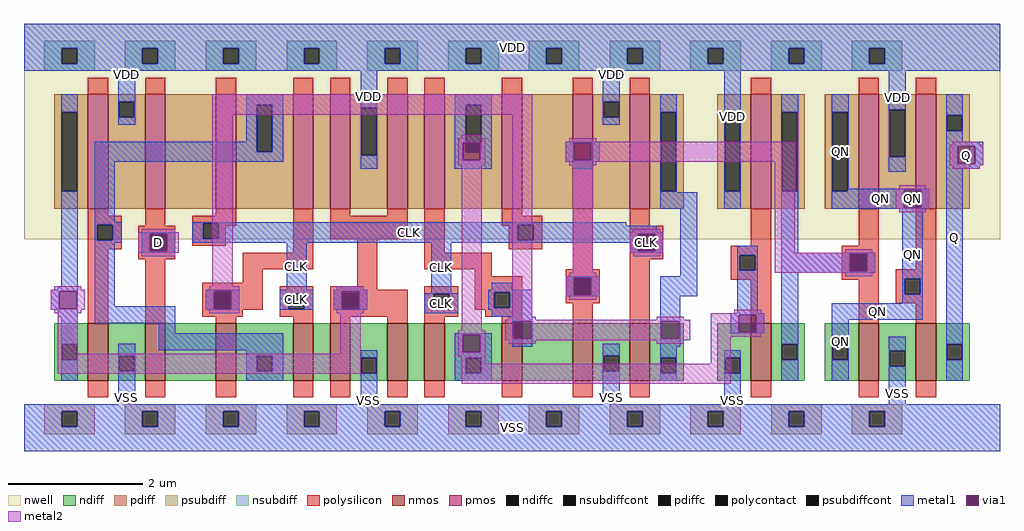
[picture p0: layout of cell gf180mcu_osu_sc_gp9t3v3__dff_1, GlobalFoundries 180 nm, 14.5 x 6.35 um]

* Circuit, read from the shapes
.subckt gf180mcu_osu_sc_gp9t3v3__dff_1 D Q QN CLK VDD VSS
XM1 VSS n1 n2 VSS nfet_03v3 w=0.85u l=0.3u
XM2 n3 D VSS VSS nfet_03v3 w=0.85u l=0.3u
XM3 n1 n4 n3 VSS nfet_03v3 w=0.85u l=0.3u
XM4 n5 CLK n1 VSS nfet_03v3 w=0.85u l=0.3u
XM5 VSS n2 n5 VSS nfet_03v3 w=0.85u l=0.3u
XM6 n6 n2 VSS VSS nfet_03v3 w=0.85u l=0.3u
XM7 n7 CLK n6 VSS nfet_03v3 w=0.85u l=0.3u
XM8 n8 n4 n7 VSS nfet_03v3 w=0.85u l=0.3u
XM9 VSS n9 n8 VSS nfet_03v3 w=0.85u l=0.3u
XM10 n4 CLK VSS VSS nfet_03v3 w=0.85u l=0.3u
XM11 n9 n7 VSS VSS nfet_03v3 w=0.85u l=0.3u
XM12 VSS n9 QN VSS nfet_03v3 w=0.85u l=0.3u
XM13 Q QN VSS VSS nfet_03v3 w=0.85u l=0.3u
XM14 VDD n1 n2 VDD pfet_03v3 w=1.7u l=0.3u
XM15 n10 D VDD VDD pfet_03v3 w=1.7u l=0.3u
XM16 n1 CLK n10 VDD pfet_03v3 w=1.7u l=0.3u
XM17 n11 n4 n1 VDD pfet_03v3 w=1.7u l=0.3u
XM18 VDD n2 n11 VDD pfet_03v3 w=1.7u l=0.3u
XM19 n12 n2 VDD VDD pfet_03v3 w=1.7u l=0.3u
XM20 n7 n4 n12 VDD pfet_03v3 w=1.7u l=0.3u
XM21 n13 CLK n7 VDD pfet_03v3 w=1.7u l=0.3u
XM22 VDD n9 n13 VDD pfet_03v3 w=1.7u l=0.3u
XM23 n4 CLK VDD VDD pfet_03v3 w=1.7u l=0.3u
XM24 n9 n7 VDD VDD pfet_03v3 w=1.7u l=0.3u
XM25 VDD n9 QN VDD pfet_03v3 w=1.7u l=0.3u
XM26 Q QN VDD VDD pfet_03v3 w=1.7u l=0.3u
.ends

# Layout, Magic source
magic
tech gf180mcuA
magscale 1 10
<< nwell >>
rect 0 630 2900 1270
<< nmos >>
rect 190 210 250 380
rect 360 210 420 380
rect 570 210 630 380
rect 800 210 860 380
rect 910 210 970 380
rect 1080 210 1140 380
rect 1190 210 1250 380
rect 1420 210 1480 380
rect 1630 210 1690 380
rect 1800 210 1860 380
rect 2160 210 2220 380
rect 2480 210 2540 380
rect 2650 210 2710 380
<< pmos >>
rect 190 720 250 1060
rect 360 720 420 1060
rect 570 720 630 1060
rect 800 720 860 1060
rect 910 720 970 1060
rect 1080 720 1140 1060
rect 1190 720 1250 1060
rect 1420 720 1480 1060
rect 1630 720 1690 1060
rect 1800 720 1860 1060
rect 2160 720 2220 1060
rect 2480 720 2540 1060
rect 2650 720 2710 1060
<< ndiff >>
rect 90 318 190 380
rect 90 272 112 318
rect 158 272 190 318
rect 90 210 190 272
rect 250 283 360 380
rect 250 237 282 283
rect 328 237 360 283
rect 250 210 360 237
rect 420 210 570 380
rect 630 283 800 380
rect 630 237 692 283
rect 738 237 800 283
rect 630 210 800 237
rect 860 210 910 380
rect 970 278 1080 380
rect 970 232 1002 278
rect 1048 232 1080 278
rect 970 210 1080 232
rect 1140 210 1190 380
rect 1250 278 1420 380
rect 1250 232 1312 278
rect 1358 232 1420 278
rect 1250 210 1420 232
rect 1480 210 1630 380
rect 1690 283 1800 380
rect 1690 237 1722 283
rect 1768 237 1800 283
rect 1690 210 1800 237
rect 1860 278 1960 380
rect 1860 232 1892 278
rect 1938 232 1960 278
rect 1860 210 1960 232
rect 2060 278 2160 380
rect 2060 232 2082 278
rect 2128 232 2160 278
rect 2060 210 2160 232
rect 2220 318 2320 380
rect 2220 272 2252 318
rect 2298 272 2320 318
rect 2220 210 2320 272
rect 2380 318 2480 380
rect 2380 272 2402 318
rect 2448 272 2480 318
rect 2380 210 2480 272
rect 2540 298 2650 380
rect 2540 252 2572 298
rect 2618 252 2650 298
rect 2540 210 2650 252
rect 2710 318 2810 380
rect 2710 272 2742 318
rect 2788 272 2810 318
rect 2710 210 2810 272
<< pdiff >>
rect 90 1007 190 1060
rect 90 773 112 1007
rect 158 773 190 1007
rect 90 720 190 773
rect 250 1038 360 1060
rect 250 992 282 1038
rect 328 992 360 1038
rect 250 720 360 992
rect 420 720 570 1060
rect 630 1030 800 1060
rect 630 890 692 1030
rect 738 890 800 1030
rect 630 720 800 890
rect 860 720 910 1060
rect 970 1020 1080 1060
rect 970 880 1002 1020
rect 1048 880 1080 1020
rect 970 720 1080 880
rect 1140 720 1190 1060
rect 1250 1030 1420 1060
rect 1250 890 1312 1030
rect 1358 890 1420 1030
rect 1250 720 1420 890
rect 1480 720 1630 1060
rect 1690 1038 1800 1060
rect 1690 992 1722 1038
rect 1768 992 1800 1038
rect 1690 720 1800 992
rect 1860 1007 1960 1060
rect 1860 773 1892 1007
rect 1938 773 1960 1007
rect 1860 720 1960 773
rect 2060 1007 2160 1060
rect 2060 773 2082 1007
rect 2128 773 2160 1007
rect 2060 720 2160 773
rect 2220 1007 2320 1060
rect 2220 773 2252 1007
rect 2298 773 2320 1007
rect 2220 720 2320 773
rect 2380 1007 2480 1060
rect 2380 773 2402 1007
rect 2448 773 2480 1007
rect 2380 720 2480 773
rect 2540 1015 2650 1060
rect 2540 875 2572 1015
rect 2618 875 2650 1015
rect 2540 720 2650 875
rect 2710 998 2810 1060
rect 2710 952 2742 998
rect 2788 952 2810 998
rect 2710 720 2810 952
<< ndiffc >>
rect 112 272 158 318
rect 282 237 328 283
rect 692 237 738 283
rect 1002 232 1048 278
rect 1312 232 1358 278
rect 1722 237 1768 283
rect 1892 232 1938 278
rect 2082 232 2128 278
rect 2252 272 2298 318
rect 2402 272 2448 318
rect 2572 252 2618 298
rect 2742 272 2788 318
<< pdiffc >>
rect 112 773 158 1007
rect 282 992 328 1038
rect 692 890 738 1030
rect 1002 880 1048 1020
rect 1312 890 1358 1030
rect 1722 992 1768 1038
rect 1892 773 1938 1007
rect 2082 773 2128 1007
rect 2252 773 2298 1007
rect 2402 773 2448 1007
rect 2572 875 2618 1015
rect 2742 952 2788 998
<< psubdiff >>
rect 60 118 210 140
rect 60 72 112 118
rect 158 72 210 118
rect 60 50 210 72
rect 300 118 450 140
rect 300 72 352 118
rect 398 72 450 118
rect 300 50 450 72
rect 540 118 690 140
rect 540 72 592 118
rect 638 72 690 118
rect 540 50 690 72
rect 780 118 930 140
rect 780 72 832 118
rect 878 72 930 118
rect 780 50 930 72
rect 1020 118 1170 140
rect 1020 72 1072 118
rect 1118 72 1170 118
rect 1020 50 1170 72
rect 1260 118 1410 140
rect 1260 72 1312 118
rect 1358 72 1410 118
rect 1260 50 1410 72
rect 1500 118 1650 140
rect 1500 72 1552 118
rect 1598 72 1650 118
rect 1500 50 1650 72
rect 1740 118 1890 140
rect 1740 72 1792 118
rect 1838 72 1890 118
rect 1740 50 1890 72
rect 1980 118 2130 140
rect 1980 72 2032 118
rect 2078 72 2130 118
rect 1980 50 2130 72
rect 2220 118 2370 140
rect 2220 72 2272 118
rect 2318 72 2370 118
rect 2220 50 2370 72
rect 2460 118 2610 140
rect 2460 72 2512 118
rect 2558 72 2610 118
rect 2460 50 2610 72
<< nsubdiff >>
rect 60 1198 210 1220
rect 60 1152 112 1198
rect 158 1152 210 1198
rect 60 1130 210 1152
rect 300 1198 450 1220
rect 300 1152 352 1198
rect 398 1152 450 1198
rect 300 1130 450 1152
rect 540 1198 690 1220
rect 540 1152 592 1198
rect 638 1152 690 1198
rect 540 1130 690 1152
rect 780 1198 930 1220
rect 780 1152 832 1198
rect 878 1152 930 1198
rect 780 1130 930 1152
rect 1020 1198 1170 1220
rect 1020 1152 1072 1198
rect 1118 1152 1170 1198
rect 1020 1130 1170 1152
rect 1260 1198 1410 1220
rect 1260 1152 1312 1198
rect 1358 1152 1410 1198
rect 1260 1130 1410 1152
rect 1500 1198 1650 1220
rect 1500 1152 1552 1198
rect 1598 1152 1650 1198
rect 1500 1130 1650 1152
rect 1740 1198 1890 1220
rect 1740 1152 1792 1198
rect 1838 1152 1890 1198
rect 1740 1130 1890 1152
rect 1980 1198 2130 1220
rect 1980 1152 2032 1198
rect 2078 1152 2130 1198
rect 1980 1130 2130 1152
rect 2220 1198 2370 1220
rect 2220 1152 2272 1198
rect 2318 1152 2370 1198
rect 2220 1130 2370 1152
rect 2460 1198 2610 1220
rect 2460 1152 2512 1198
rect 2558 1152 2610 1198
rect 2460 1130 2610 1152
<< psubdiffcont >>
rect 112 72 158 118
rect 352 72 398 118
rect 592 72 638 118
rect 832 72 878 118
rect 1072 72 1118 118
rect 1312 72 1358 118
rect 1552 72 1598 118
rect 1792 72 1838 118
rect 2032 72 2078 118
rect 2272 72 2318 118
rect 2512 72 2558 118
<< nsubdiffcont >>
rect 112 1152 158 1198
rect 352 1152 398 1198
rect 592 1152 638 1198
rect 832 1152 878 1198
rect 1072 1152 1118 1198
rect 1312 1152 1358 1198
rect 1552 1152 1598 1198
rect 1792 1152 1838 1198
rect 2032 1152 2078 1198
rect 2272 1152 2318 1198
rect 2512 1152 2558 1198
<< polysilicon >>
rect 190 1060 250 1110
rect 360 1060 420 1110
rect 570 1060 630 1110
rect 800 1060 860 1110
rect 910 1060 970 1110
rect 1080 1060 1140 1110
rect 1190 1060 1250 1110
rect 1420 1060 1480 1110
rect 1630 1060 1690 1110
rect 1800 1060 1860 1110
rect 2160 1060 2220 1110
rect 2480 1060 2540 1110
rect 2650 1060 2710 1110
rect 190 700 250 720
rect 190 673 290 700
rect 190 627 217 673
rect 263 627 290 673
rect 360 670 420 720
rect 570 700 630 720
rect 500 678 630 700
rect 190 600 290 627
rect 340 643 450 670
rect 190 380 250 600
rect 340 597 377 643
rect 423 597 450 643
rect 500 632 532 678
rect 578 670 630 678
rect 578 632 600 670
rect 500 610 600 632
rect 340 570 450 597
rect 800 590 860 720
rect 910 700 970 720
rect 1080 700 1140 720
rect 910 630 1140 700
rect 360 380 420 570
rect 650 540 860 590
rect 650 500 710 540
rect 530 473 710 500
rect 990 490 1050 630
rect 1190 590 1250 720
rect 1420 700 1480 720
rect 1420 673 1540 700
rect 1420 670 1467 673
rect 1440 627 1467 670
rect 1513 627 1540 673
rect 1440 600 1540 627
rect 1190 540 1390 590
rect 1630 540 1690 720
rect 1800 670 1860 720
rect 1800 643 1900 670
rect 1800 597 1827 643
rect 1873 597 1900 643
rect 2160 610 2220 720
rect 2480 610 2540 720
rect 1800 570 1900 597
rect 2100 583 2220 610
rect 1340 520 1390 540
rect 530 427 567 473
rect 613 427 710 473
rect 530 420 710 427
rect 760 468 860 490
rect 760 422 787 468
rect 833 422 860 468
rect 530 400 650 420
rect 760 400 860 422
rect 570 380 630 400
rect 800 380 860 400
rect 910 480 1050 490
rect 910 468 1140 480
rect 910 422 947 468
rect 993 422 1140 468
rect 910 400 1140 422
rect 910 380 970 400
rect 1080 380 1140 400
rect 1190 468 1290 490
rect 1190 422 1217 468
rect 1263 422 1290 468
rect 1190 400 1290 422
rect 1340 473 1480 520
rect 1340 427 1397 473
rect 1443 427 1480 473
rect 1610 513 1710 540
rect 1610 467 1637 513
rect 1683 467 1710 513
rect 1610 440 1710 467
rect 1340 420 1480 427
rect 1370 400 1480 420
rect 1190 380 1250 400
rect 1420 380 1480 400
rect 1630 380 1690 440
rect 1800 380 1860 570
rect 2100 537 2127 583
rect 2173 537 2220 583
rect 2100 510 2220 537
rect 2430 583 2540 610
rect 2430 537 2457 583
rect 2503 537 2540 583
rect 2650 540 2710 720
rect 2430 510 2540 537
rect 2160 380 2220 510
rect 2480 380 2540 510
rect 2590 513 2710 540
rect 2590 467 2617 513
rect 2663 467 2710 513
rect 2590 440 2710 467
rect 2650 380 2710 440
rect 190 160 250 210
rect 360 160 420 210
rect 570 160 630 210
rect 800 160 860 210
rect 910 160 970 210
rect 1080 160 1140 210
rect 1190 160 1250 210
rect 1420 160 1480 210
rect 1630 160 1690 210
rect 1800 160 1860 210
rect 2160 160 2220 210
rect 2480 160 2540 210
rect 2650 160 2710 210
<< polycontact >>
rect 217 627 263 673
rect 377 597 423 643
rect 532 632 578 678
rect 1467 627 1513 673
rect 1827 597 1873 643
rect 567 427 613 473
rect 787 422 833 468
rect 947 422 993 468
rect 1217 422 1263 468
rect 1397 427 1443 473
rect 1637 467 1683 513
rect 2127 537 2173 583
rect 2457 537 2503 583
rect 2617 467 2663 513
<< metal1 >>
rect 0 1198 2900 1270
rect 0 1152 112 1198
rect 158 1152 352 1198
rect 398 1152 592 1198
rect 638 1152 832 1198
rect 878 1152 1072 1198
rect 1118 1152 1312 1198
rect 1358 1152 1552 1198
rect 1598 1152 1792 1198
rect 1838 1152 2032 1198
rect 2078 1152 2272 1198
rect 2318 1152 2512 1198
rect 2558 1152 2900 1198
rect 0 1130 2900 1152
rect 110 1007 160 1060
rect 110 773 112 1007
rect 158 773 160 1007
rect 280 1038 330 1130
rect 280 992 282 1038
rect 328 992 330 1038
rect 280 970 330 992
rect 660 1030 770 1060
rect 660 920 692 1030
rect 110 490 160 773
rect 100 480 160 490
rect 80 476 160 480
rect 80 424 104 476
rect 156 424 160 476
rect 80 420 160 424
rect 100 400 160 420
rect 110 318 160 400
rect 210 890 692 920
rect 738 890 770 1030
rect 210 860 770 890
rect 1000 1020 1050 1130
rect 1000 880 1002 1020
rect 1048 880 1050 1020
rect 210 680 270 860
rect 1000 840 1050 880
rect 1280 1030 1390 1060
rect 1280 916 1312 1030
rect 1280 864 1304 916
rect 1358 890 1390 1030
rect 1720 1038 1770 1130
rect 1720 992 1722 1038
rect 1768 992 1770 1038
rect 1720 970 1770 992
rect 1890 1007 1940 1060
rect 1356 864 1390 890
rect 1280 840 1390 864
rect 1610 916 1710 920
rect 1610 864 1634 916
rect 1686 864 1710 916
rect 1610 860 1710 864
rect 1630 840 1690 860
rect 1890 773 1892 1007
rect 1938 773 1940 1007
rect 1890 770 1940 773
rect 2080 1007 2130 1130
rect 2080 773 2082 1007
rect 2128 773 2130 1007
rect 1890 720 2000 770
rect 2080 720 2130 773
rect 2250 1007 2300 1060
rect 2250 773 2252 1007
rect 2298 773 2300 1007
rect 210 673 290 680
rect 210 627 217 673
rect 263 627 290 673
rect 500 678 1790 680
rect 210 620 290 627
rect 350 646 450 650
rect 210 430 270 620
rect 350 594 374 646
rect 426 594 450 646
rect 500 632 532 678
rect 578 673 1790 678
rect 578 632 1467 673
rect 500 627 1467 632
rect 1513 670 1790 673
rect 1513 650 1880 670
rect 1513 646 1900 650
rect 1513 627 1824 646
rect 500 620 1824 627
rect 350 590 450 594
rect 780 480 840 620
rect 940 480 1000 490
rect 540 476 640 480
rect 210 380 450 430
rect 540 424 564 476
rect 616 424 640 476
rect 540 420 640 424
rect 760 468 860 480
rect 760 422 787 468
rect 833 422 860 468
rect 760 420 860 422
rect 920 476 1020 480
rect 920 424 944 476
rect 996 424 1020 476
rect 1210 470 1270 620
rect 1800 594 1824 620
rect 1876 594 1900 646
rect 1800 590 1900 594
rect 1950 520 2000 720
rect 1610 516 1710 520
rect 1390 480 1450 500
rect 1380 473 1510 480
rect 920 422 947 424
rect 993 422 1020 424
rect 920 420 1020 422
rect 1190 468 1290 470
rect 1190 422 1217 468
rect 1263 422 1290 468
rect 1190 410 1290 422
rect 1380 427 1397 473
rect 1443 427 1510 473
rect 1610 464 1634 516
rect 1686 464 1710 516
rect 1610 460 1710 464
rect 1890 460 2000 520
rect 2120 583 2180 610
rect 2120 537 2127 583
rect 2173 537 2180 583
rect 1380 420 1510 427
rect 1390 400 1510 420
rect 400 350 450 380
rect 1450 386 1510 400
rect 110 272 112 318
rect 158 272 160 318
rect 110 210 160 272
rect 280 283 330 320
rect 400 300 770 350
rect 1280 346 1390 350
rect 280 237 282 283
rect 328 237 330 283
rect 280 140 330 237
rect 660 283 770 300
rect 660 237 692 283
rect 738 237 770 283
rect 660 210 770 237
rect 1000 278 1050 300
rect 1000 232 1002 278
rect 1048 232 1050 278
rect 1000 140 1050 232
rect 1280 294 1304 346
rect 1356 294 1390 346
rect 1450 334 1454 386
rect 1506 334 1510 386
rect 1450 310 1510 334
rect 1890 386 1950 460
rect 2120 410 2180 537
rect 2250 590 2300 773
rect 2400 1007 2450 1060
rect 2400 773 2402 1007
rect 2448 780 2450 1007
rect 2570 1015 2620 1130
rect 2570 875 2572 1015
rect 2618 875 2620 1015
rect 2570 830 2620 875
rect 2740 998 2790 1060
rect 2740 952 2742 998
rect 2788 952 2790 998
rect 2740 920 2790 952
rect 2740 906 2850 920
rect 2740 854 2774 906
rect 2826 854 2850 906
rect 2740 850 2850 854
rect 2740 840 2840 850
rect 2448 776 2690 780
rect 2448 773 2614 776
rect 2400 724 2614 773
rect 2666 724 2690 776
rect 2400 720 2690 724
rect 2250 586 2530 590
rect 2250 534 2454 586
rect 2506 534 2530 586
rect 2250 530 2530 534
rect 1890 334 1894 386
rect 1946 334 1950 386
rect 2100 406 2200 410
rect 2100 354 2124 406
rect 2176 354 2200 406
rect 2100 350 2200 354
rect 1280 278 1390 294
rect 1280 232 1312 278
rect 1358 232 1390 278
rect 1280 210 1390 232
rect 1720 283 1770 320
rect 1720 237 1722 283
rect 1768 237 1770 283
rect 1720 140 1770 237
rect 1890 310 1950 334
rect 2250 318 2300 530
rect 2610 513 2670 720
rect 2610 467 2617 513
rect 2663 467 2670 513
rect 2610 440 2670 467
rect 1890 278 1940 310
rect 1890 232 1892 278
rect 1938 232 1940 278
rect 1890 210 1940 232
rect 2080 278 2130 300
rect 2080 232 2082 278
rect 2128 232 2130 278
rect 2080 140 2130 232
rect 2250 272 2252 318
rect 2298 272 2300 318
rect 2250 210 2300 272
rect 2400 390 2670 440
rect 2400 318 2450 390
rect 2400 272 2402 318
rect 2448 272 2450 318
rect 2400 210 2450 272
rect 2570 298 2620 340
rect 2570 252 2572 298
rect 2618 252 2620 298
rect 2570 140 2620 252
rect 2740 318 2790 840
rect 2740 272 2742 318
rect 2788 272 2790 318
rect 2740 210 2790 272
rect 0 118 2900 140
rect 0 72 112 118
rect 158 72 352 118
rect 398 72 592 118
rect 638 72 832 118
rect 878 72 1072 118
rect 1118 72 1312 118
rect 1358 72 1552 118
rect 1598 72 1792 118
rect 1838 72 2032 118
rect 2078 72 2272 118
rect 2318 72 2512 118
rect 2558 72 2900 118
rect 0 0 2900 72
<< via1 >>
rect 104 424 156 476
rect 1304 890 1312 916
rect 1312 890 1356 916
rect 1304 864 1356 890
rect 1634 864 1686 916
rect 374 643 426 646
rect 374 597 377 643
rect 377 597 423 643
rect 423 597 426 643
rect 374 594 426 597
rect 1824 643 1876 646
rect 564 473 616 476
rect 564 427 567 473
rect 567 427 613 473
rect 613 427 616 473
rect 564 424 616 427
rect 944 468 996 476
rect 944 424 947 468
rect 947 424 993 468
rect 993 424 996 468
rect 1824 597 1827 643
rect 1827 597 1873 643
rect 1873 597 1876 643
rect 1824 594 1876 597
rect 1634 513 1686 516
rect 1634 467 1637 513
rect 1637 467 1683 513
rect 1683 467 1686 513
rect 1634 464 1686 467
rect 1304 294 1356 346
rect 1454 334 1506 386
rect 2774 854 2826 906
rect 2614 724 2666 776
rect 2454 583 2506 586
rect 2454 537 2457 583
rect 2457 537 2503 583
rect 2503 537 2506 583
rect 2454 534 2506 537
rect 1894 334 1946 386
rect 2124 354 2176 406
<< metal2 >>
rect 560 1000 1510 1060
rect 350 650 450 660
rect 340 646 460 650
rect 340 594 374 646
rect 426 594 460 646
rect 340 590 460 594
rect 350 580 450 590
rect 560 490 620 1000
rect 1300 930 1360 940
rect 1290 916 1370 930
rect 1290 864 1304 916
rect 1356 864 1370 916
rect 1290 850 1370 864
rect 90 480 170 490
rect 550 480 640 490
rect 930 480 1010 490
rect 80 476 180 480
rect 80 424 104 476
rect 156 424 180 476
rect 80 420 180 424
rect 540 476 640 480
rect 540 424 564 476
rect 616 424 640 476
rect 540 420 640 424
rect 920 476 1020 480
rect 920 424 944 476
rect 996 424 1020 476
rect 920 420 1020 424
rect 90 410 170 420
rect 550 410 640 420
rect 930 410 1010 420
rect 100 290 160 410
rect 940 290 1000 410
rect 1300 360 1360 850
rect 1450 400 1510 1000
rect 1620 920 1700 930
rect 1610 916 2290 920
rect 1610 864 1634 916
rect 1686 864 2290 916
rect 2760 910 2840 920
rect 1610 860 2290 864
rect 1620 850 1700 860
rect 1630 530 1690 850
rect 1810 650 1890 660
rect 1800 646 1900 650
rect 1800 594 1824 646
rect 1876 594 1900 646
rect 1800 590 1900 594
rect 2230 590 2290 860
rect 2750 906 2850 910
rect 2750 854 2774 906
rect 2826 854 2850 906
rect 2750 850 2850 854
rect 2760 840 2840 850
rect 2600 780 2680 790
rect 2590 776 2690 780
rect 2590 724 2614 776
rect 2666 724 2690 776
rect 2590 720 2690 724
rect 2600 710 2680 720
rect 2440 590 2520 600
rect 1810 580 1890 590
rect 2230 586 2530 590
rect 2230 534 2454 586
rect 2506 534 2530 586
rect 2230 530 2530 534
rect 1620 520 1700 530
rect 2440 520 2520 530
rect 1610 516 1710 520
rect 1610 464 1634 516
rect 1686 464 1710 516
rect 1610 460 1710 464
rect 1620 450 1700 460
rect 2110 410 2190 420
rect 2040 406 2200 410
rect 1440 390 1520 400
rect 1880 390 1960 400
rect 1430 386 1980 390
rect 100 230 1000 290
rect 1290 346 1370 360
rect 1290 294 1304 346
rect 1356 294 1370 346
rect 1430 334 1454 386
rect 1506 334 1894 386
rect 1946 334 1980 386
rect 1430 330 1980 334
rect 2040 354 2124 406
rect 2176 354 2200 406
rect 2040 350 2200 354
rect 2040 340 2190 350
rect 1440 320 1520 330
rect 1880 320 1960 330
rect 1290 280 1370 294
rect 1300 260 1370 280
rect 2040 260 2100 340
rect 1300 200 2100 260
<< labels >>
rlabel via1 s 374 594 426 646 4 D
port 1 nsew signal input
rlabel via1 s 2774 854 2826 906 4 Q
port 2 nsew signal output
rlabel via1 s 2614 724 2666 776 4 QN
port 3 nsew signal output
rlabel via1 s 1824 594 1876 646 4 CLK
port 4 nsew clock input
rlabel metal1 s 280 970 330 1270 4 VDD
port 5 nsew power bidirectional abutment
rlabel metal1 s 280 0 330 320 4 VSS
port 6 nsew ground bidirectional abutment
rlabel metal1 s 1000 840 1050 1270 1 VDD
port 5 nsew power bidirectional abutment
rlabel metal1 s 1720 970 1770 1270 1 VDD
port 5 nsew power bidirectional abutment
rlabel metal1 s 2080 720 2130 1270 1 VDD
port 5 nsew power bidirectional abutment
rlabel metal1 s 2570 830 2620 1270 1 VDD
port 5 nsew power bidirectional abutment
rlabel metal1 s 0 1130 2900 1270 1 VDD
port 5 nsew power bidirectional abutment
rlabel metal1 s 1000 0 1050 300 1 VSS
port 6 nsew ground bidirectional abutment
rlabel metal1 s 1720 0 1770 320 1 VSS
port 6 nsew ground bidirectional abutment
rlabel metal1 s 2080 0 2130 300 1 VSS
port 6 nsew ground bidirectional abutment
rlabel metal1 s 2570 0 2620 340 1 VSS
port 6 nsew ground bidirectional abutment
rlabel metal1 s 0 0 2900 140 1 VSS
port 6 nsew ground bidirectional abutment
rlabel metal2 s 1810 580 1890 660 1 CLK
port 4 nsew clock input
rlabel metal2 s 1800 590 1900 650 1 CLK
port 4 nsew clock input
rlabel metal1 s 780 420 840 680 1 CLK
port 4 nsew clock input
rlabel metal1 s 760 420 860 480 1 CLK
port 4 nsew clock input
rlabel metal1 s 1210 410 1270 680 1 CLK
port 4 nsew clock input
rlabel metal1 s 1190 410 1290 470 1 CLK
port 4 nsew clock input
rlabel metal1 s 500 620 1790 680 1 CLK
port 4 nsew clock input
rlabel metal1 s 500 620 1880 670 1 CLK
port 4 nsew clock input
rlabel metal1 s 1800 590 1900 650 1 CLK
port 4 nsew clock input
rlabel metal2 s 350 580 450 660 1 D
port 1 nsew signal input
rlabel metal2 s 340 590 460 650 1 D
port 1 nsew signal input
rlabel metal1 s 350 590 450 650 1 D
port 1 nsew signal input
rlabel metal2 s 2760 840 2840 920 1 Q
port 2 nsew signal output
rlabel metal2 s 2750 850 2850 910 1 Q
port 2 nsew signal output
rlabel metal1 s 2740 210 2790 1060 1 Q
port 2 nsew signal output
rlabel metal1 s 2740 840 2840 920 1 Q
port 2 nsew signal output
rlabel metal1 s 2740 850 2850 920 1 Q
port 2 nsew signal output
rlabel metal2 s 2600 710 2680 790 1 QN
port 3 nsew signal output
rlabel metal2 s 2590 720 2690 780 1 QN
port 3 nsew signal output
rlabel metal1 s 2400 210 2450 440 1 QN
port 3 nsew signal output
rlabel metal1 s 2400 720 2450 1060 1 QN
port 3 nsew signal output
rlabel metal1 s 2400 390 2670 440 1 QN
port 3 nsew signal output
rlabel metal1 s 2610 390 2670 780 1 QN
port 3 nsew signal output
rlabel metal1 s 2400 720 2690 780 1 QN
port 3 nsew signal output
<< properties >>
string FIXED_BBOX 0 0 2900 1270
string GDS_END 199344
string GDS_FILE $PDKPATH/libs.ref/gf180mcu_osu_sc_gp9t3v3/gds/gf180mcu_osu_sc_gp9t3v3.gds
string GDS_START 178242
string LEFclass CORE
string LEFsite gf180mcu_osu_sc_gp9t3v3
string LEFsymmetry X Y
<< end >>
